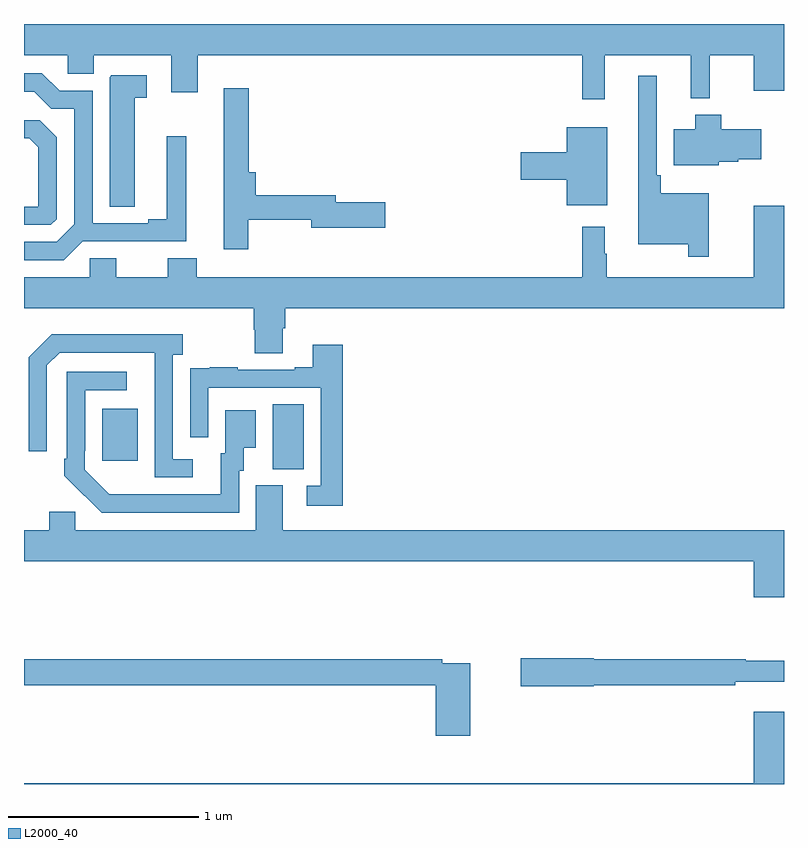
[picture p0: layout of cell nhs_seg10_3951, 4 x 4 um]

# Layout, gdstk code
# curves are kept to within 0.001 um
import gdstk
lib = gdstk.Library(unit=1e-6, precision=1e-09)
def R(c, l, rs):  # rectangles x0, y0, x1, y1
    for r in rs: c.add(gdstk.rectangle(r[:2], r[2:], *l))
def P(c, l, *ps):  # polygons
    for p in ps: c.add(gdstk.Polygon(p, *l))
L2000_40 = (2000, 40)

nhs_seg10_3951 = lib.new_cell('nhs_seg10_3951')
R(nhs_seg10_3951, L2000_40, [(330.308,1278.157,330.472,1278.5), (329.411,1278.201,329.599,1278.475)])
P(nhs_seg10_3951, L2000_40, [(332.057,1280.336),(332.51,1280.336),(332.51,1280.108),(332.61,1280.108),(332.61,1280.336),(332.84,1280.336),(332.84,1280.148),(333,1280.148),(333,1280.5),(329,1280.5),(329,1280.336),(329.229,1280.336),(329.229,1280.238),(329.368,1280.238),(329.368,1280.336),(329.774,1280.336),(329.774,1280.142),(329.914,1280.142),(329.914,1280.336),(331.939,1280.336),(331.939,1280.103),(332.057,1280.103)],
  [(329.308,1279.356),(329.854,1279.356),(329.854,1279.909),(329.75,1279.909),(329.75,1279.472),(329.654,1279.472),(329.654,1279.452),(329.361,1279.452),(329.361,1280.148),(329.187,1280.148),(329.094,1280.241),(329,1280.241),(329,1280.144),(329.053,1280.144),(329.144,1280.053),(329.265,1280.053),(329.265,1279.446),(329.172,1279.353),(329,1279.353),(329,1279.257),(329.209,1279.257)],
  [(329.584,1280.113),(329.647,1280.113),(329.647,1280.229),(329.46,1280.229),(329.45,1280.219),(329.45,1279.537),(329.584,1279.537)],
  [(332.604,1279.609),(332.351,1279.609),(332.351,1279.705),(332.331,1279.705),(332.331,1280.227),(332.234,1280.227),(332.234,1279.34),(332.496,1279.34),(332.496,1279.275),(332.604,1279.275)],
  [(330.18,1279.47),(330.512,1279.47),(330.512,1279.427),(330.901,1279.427),(330.901,1279.562),(330.64,1279.562),(330.64,1279.598),(330.221,1279.598),(330.221,1279.72),(330.182,1279.72),(330.182,1280.161),(330.05,1280.161),(330.05,1279.314),(330.18,1279.314)],
  [(332.656,1279.775),(332.76,1279.775),(332.76,1279.787),(332.881,1279.787),(332.881,1279.945),(332.669,1279.945),(332.669,1280.023),(332.534,1280.023),(332.534,1279.945),(332.42,1279.945),(332.42,1279.757),(332.656,1279.757)],
  [(329.172,1279.473),(329.172,1279.905),(329.083,1279.994),(329,1279.994),(329,1279.899),(329.028,1279.899),(329.076,1279.851),(329.076,1279.539),(329,1279.539),(329,1279.443),(329.142,1279.443)],
  [(332.071,1279.957),(331.856,1279.957),(331.856,1279.826),(331.614,1279.826),(331.614,1279.679),(331.856,1279.679),(331.856,1279.547),(332.071,1279.547)],
  [(333,1279.543),(332.84,1279.543),(332.84,1279.168),(332.068,1279.168),(332.068,1279.292),(332.056,1279.292),(332.056,1279.432),(331.939,1279.432),(331.939,1279.168),(329.909,1279.168),(329.909,1279.267),(329.756,1279.267),(329.756,1279.168),(329.485,1279.168),(329.485,1279.266),(329.346,1279.266),(329.346,1279.168),(329,1279.168),(329,1279.004),(330.209,1279.004),(330.209,1278.891),(330.214,1278.891),(330.214,1278.766),(330.361,1278.766),(330.361,1278.898),(330.374,1278.898),(330.374,1279.004),(333,1279.004)],
  [(329.887,1278.21),(329.784,1278.21),(329.784,1278.758),(329.836,1278.758),(329.836,1278.868),(329.146,1278.868),(329.025,1278.747),(329.025,1278.252),(329.121,1278.252),(329.121,1278.705),(329.187,1278.771),(329.687,1278.771),(329.688,1278.114),(329.887,1278.114)],
  [(330.677,1278.811),(330.521,1278.811),(330.521,1278.694),(330.425,1278.694),(330.425,1278.681),(330.125,1278.681),(330.125,1278.694),(329.977,1278.694),(329.977,1278.687),(329.875,1278.687),(329.875,1278.578),(329.874,1278.578),(329.874,1278.324),(329.97,1278.324),(329.97,1278.585),(330.561,1278.585),(330.561,1278.069),(330.489,1278.069),(330.489,1277.964),(330.677,1277.964)],
  [(330.132,1278.15),(330.157,1278.15),(330.157,1278.269),(330.22,1278.269),(330.22,1278.466),(330.059,1278.466),(330.059,1278.24),(330.035,1278.24),(330.035,1278.024),(329.448,1278.025),(329.319,1278.153),(329.319,1278.253),(329.322,1278.253),(329.322,1278.573),(329.542,1278.573),(329.542,1278.669),(329.226,1278.669),(329.226,1278.211),(329.211,1278.211),(329.211,1278.123),(329.408,1277.928),(330.132,1277.928)],
  [(330.221,1278.072),(330.221,1277.836),(329.271,1277.836),(329.271,1277.934),(329.132,1277.934),(329.132,1277.836),(329,1277.836),(329,1277.672),(332.84,1277.672),(332.84,1277.484),(333,1277.484),(333,1277.836),(330.361,1277.836),(330.361,1278.072)],
  [(331.998,1277.02),(332.744,1277.02),(332.744,1277.039),(333,1277.039),(333,1277.149),(332.798,1277.149),(332.798,1277.156),(331.998,1277.156),(331.998,1277.162),(331.614,1277.162),(331.614,1277.015),(331.998,1277.015)],
  [(331.349,1277.136),(331.202,1277.136),(331.202,1277.156),(329,1277.156),(329,1277.02),(331.166,1277.02),(331.166,1276.755),(331.349,1276.755)],
  [(333,1276.879),(332.84,1276.879),(332.84,1276.504),(329,1276.504),(329,1276.5),(333,1276.5)])

lib.write_gds('nhs_seg10_3951.gds')
